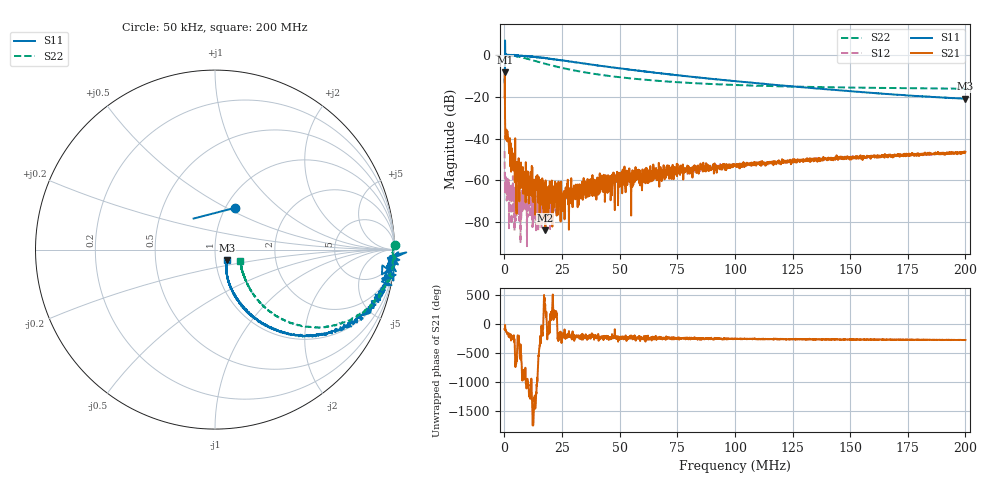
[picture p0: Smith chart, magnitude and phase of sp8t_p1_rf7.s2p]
! 26-Feb-26 11:26:44 AM
! E:\VNA_MEASUREMENTS\SP8T\SP8T_P1_RF7.S2P
! CHANNEL.1
! TR.MEASUREMENT
! CORRECTED.DATA
# GHZ S RI R 50.0
! FREQ.GHZ  S11RE  S11IM  S21RE  S21IM  S12RE  S12IM  S22RE  S22IM
!; PortSelection: Port_12
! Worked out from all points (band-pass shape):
!   2000 points, 50 kHz to 200 MHz, reference 50 ohm
!   highest |S21| = -8.28 dB at 150 kHz (marker M1); lowest = -84.0 dB at 17.65 MHz (marker M2)
!   |S21| within 3 dB of the highest: 125.2 kHz to 163.4 kHz (38.27 kHz wide, 26.5 % of centre)
!   lowest |S11| = -20.9 dB at 200 MHz (marker M3), VSWR 1.20, Z = 56.7 - j6.86 ohm
!   |S11| at or under -10 dB: start of sweep to 167.3 kHz; 77.63226 MHz to 77.91065 MHz (278.4 kHz wide, 0.358 % of centre); 78.04 MHz to end of sweep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
!   |S22| runs from -16.2 to 0.1 dB; largest |S21 - S12| = 0.39
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5e-05  0.1125 0.233  -0.00274 -0.0961  0.00233 -0.00443  1.001 0.028
0.000150025  -0.119 0.173  -0.1054 -0.3709  -0.00103 0.000501  0.9909 -0.00083
0.0012503  0.9826 -0.0386  -0.0149 -0.00225  -0.00037 -0.0004  0.9909 -0.0808
0.001350325  1.019 -0.083  -0.00946 -0.00385  -0.000271 0.00114  0.9864 -0.0818
0.004251051  0.9752 -0.1479  5.27e-05 0.00323  5.51e-05 -0.000329  0.9228 -0.2471
0.005451351  0.9481 -0.1454  -0.00111 -0.00254  -3.45e-05 -0.000325  0.8803 -0.303
0.006951726  0.9151 -0.2333  0.00068 5.93e-05  7.9e-06 3.09e-05  0.8264 -0.3509
0.008552126  0.913 -0.2524  -0.000398 0.000642  -0.000208 -5.37e-05  0.7564 -0.3895
0.01305325  0.8134 -0.37  -0.000193 0.000978  -0.000199 -0.000172  0.5845 -0.4332
0.01465365  0.7935 -0.3949  -9.24e-05 0.000662  -5.37e-05 3.28e-05  0.5334 -0.4315
0.0176544  0.7292 -0.429  5.75e-05 -2.67e-05  9.35e-05 -7.01e-05  0.455 -0.418
0.02295573  0.6112 -0.4668  -0.000499 -5.86e-05  -0.000368 -3.21e-05  0.358 -0.379
0.0252563  0.5655 -0.4714  -0.000202 0.000224  -0.000227 0.00014  0.33 -0.3614
0.02665665  0.5404 -0.4777  -0.000585 0.000342  -0.000223 0.000308  0.3138 -0.3506
0.02855713  0.5084 -0.4816  -0.000253 0.000298  -0.000503 0.000379  0.2948 -0.3376
0.03345835  0.4307 -0.473  2.3e-05 0.000445  -0.000435 0.00035  0.258 -0.303
0.04486121  0.3015 -0.4319  -0.000696 0.000674  -0.000407 0.000872  0.2094 -0.2419
0.06676668  0.1669 -0.3317  -0.000912 0.00135  -0.000266 0.00138  0.1709 -0.1713
0.100075  0.0915 -0.2212  -0.000396 0.00215  -0.000386 0.00234  0.1514 -0.1189
0.1333833  0.0674 -0.1468  -0.000313 0.0033  -9.33e-05 0.00279  0.1458 -0.0923
0.1666917  0.0629 -0.0976  0.0004 0.00411  0.00044 0.00379  0.1433 -0.0776
0.2  0.0667 -0.06  0.000816 0.00474  0.000739 0.00452  0.1414 -0.066
